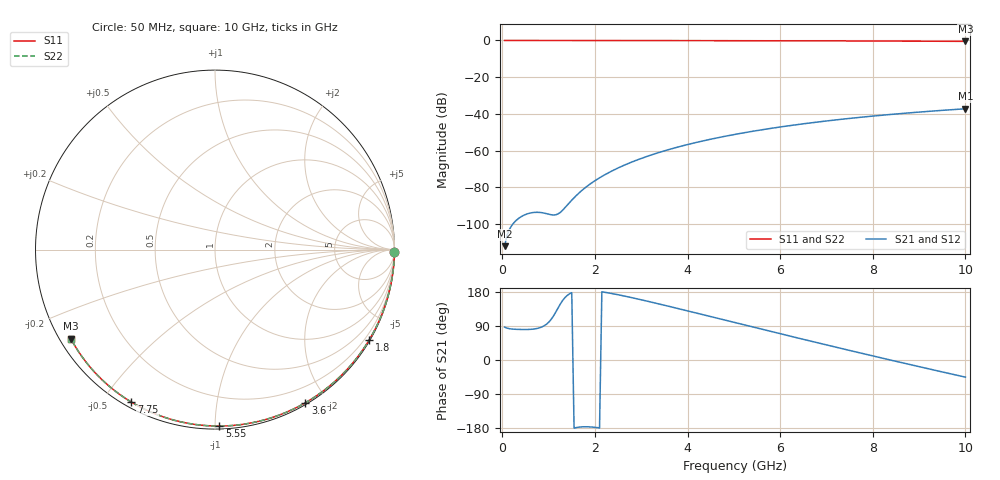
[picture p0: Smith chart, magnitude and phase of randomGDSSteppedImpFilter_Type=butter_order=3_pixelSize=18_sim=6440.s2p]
! freq	dB(S11)	phase(S11)	dB(S12)	phase(S12)
!  dB(S21)	phase(S21)	dB(S22)	phase(S22)
!S-par simulation data
#  GHz  S  DB  R 50
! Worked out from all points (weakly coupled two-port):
!   200 points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, 50 MHz to 10 GHz, reference 50 ohm
!   highest |S21| = -37.22 dB at 10 GHz (marker M1); lowest = -112.1 dB at 50 MHz (marker M2)
!   lowest |S11| = -0.5 dB at 10 GHz (marker M3), VSWR 34.95, Z = 1.55 - j14.2 ohm
!   |S11| at or under -10 dB: nowhere
!   |S22| runs from -0.5 to 0.0 dB; largest |S21 - S12| = 0
!   S11 on the Smith chart (normalised r, x): 50 MHz: open; 1.8 GHz: 0.03, -3.67; 3.6 GHz: 0.02, -1.75; 5.55 GHz: 0.02, -1.03; 7.75 GHz: 0.02, -0.59; 10 GHz: 0.03, -0.28
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0.05  -0.00 -0.9  -112.07 86.7  -112.07 86.7  -0.00 -0.9
0.45  -0.01 -7.8  -95.41 80.4  -95.41 80.4  -0.01 -7.8
0.9  -0.02 -15.4  -94.03 90.0  -94.03 90.0  -0.02 -15.4
1.3  -0.03 -22.2  -92.55 156.5  -92.55 156.5  -0.03 -22.2
1.75  -0.04 -29.7  -81.05 -176.2  -81.05 -176.2  -0.04 -29.7
1.8  -0.04 -30.5  -80.03 -176.1  -80.03 -176.1  -0.04 -30.5
1.95  -0.04 -33.0  -77.26 -177.1  -77.26 -177.1  -0.04 -33.0
2.15  -0.05 -36.3  -74.08 179.9  -74.08 179.9  -0.05 -36.3
2.5  -0.05 -42.0  -69.47 172.2  -69.47 172.2  -0.05 -42.0
2.9  -0.06 -48.4  -65.21 161.7  -65.21 161.7  -0.06 -48.4
3.4  -0.07 -56.4  -60.90 147.5  -60.90 147.5  -0.07 -56.4
3.6  -0.08 -59.5  -59.40 141.6  -59.40 141.6  -0.08 -59.5
4.3  -0.10 -70.2  -54.91 120.6  -54.91 120.6  -0.10 -70.2
5.05  -0.12 -81.3  -51.05 98.0  -51.05 98.0  -0.12 -81.3
5.55  -0.14 -88.5  -48.88 82.9  -48.88 82.9  -0.14 -88.5
6.1  -0.17 -96.3  -46.78 66.4  -46.78 66.4  -0.17 -96.3
6.7  -0.20 -104.6  -44.77 48.6  -44.77 48.6  -0.20 -104.6
7.2  -0.23 -111.4  -43.28 33.9  -43.28 33.9  -0.23 -111.4
7.75  -0.27 -118.7  -41.82 18.0  -41.82 18.0  -0.27 -118.7
8.35  -0.32 -126.7  -40.39 0.8  -40.39 0.8  -0.32 -126.7
9.2  -0.41 -137.8  -38.63 -23.1  -38.63 -23.1  -0.41 -137.8
10  -0.50 -148.3  -37.22 -45.2  -37.22 -45.2  -0.50 -148.3
